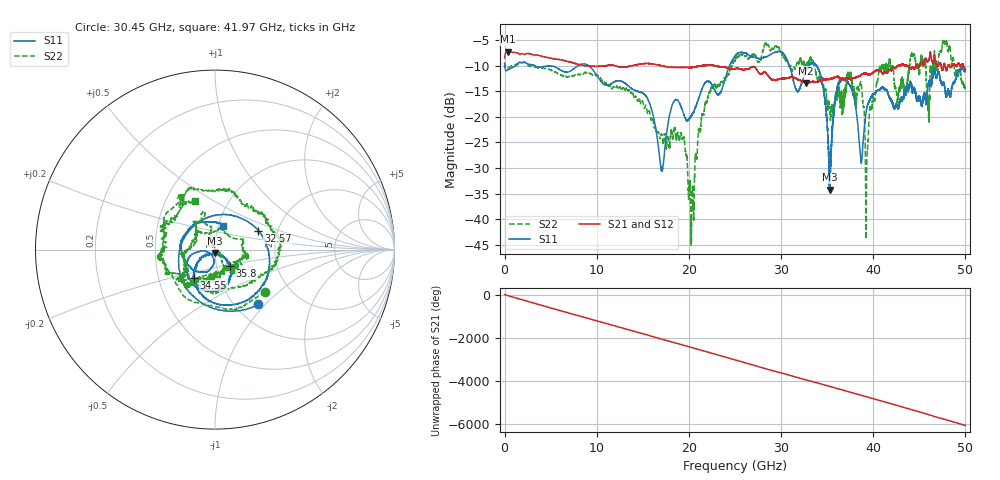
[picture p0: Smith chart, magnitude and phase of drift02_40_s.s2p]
!Created with skrf (http://scikit-rf.org).
# Hz S RI R 50.0
!freq ReS11 ImS11 ReS21 ImS21 ReS12 ImS12 ReS22 ImS22
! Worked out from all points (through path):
!   10001 points, 300 kHz to 50 GHz, reference 50 ohm
!   highest |S21| = -7.31 dB at 325.3 MHz (marker M1); lowest = -13.4 dB at 32.71 GHz (marker M2)
!   group delay of S21, straight-line fit = 335 ps
!   lowest |S11| = -34.2 dB at 35.31 GHz (marker M3), VSWR 1.04, Z = 50 - j1.94 ohm
!   |S11| at or under -10 dB: 3.231 GHz to 8.003 GHz (4.772 GHz wide, 85 % of centre); 9.104 GHz to 24.41 GHz (15.31 GHz wide, 91.4 % of centre); 33.83 GHz to end of sweep (the widest 3 of 9)
!   |S22| runs from -45.3 to -5.1 dB; largest |S21 - S12| = 0.018
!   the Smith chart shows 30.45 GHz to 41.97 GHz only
!   S11 on the Smith chart (normalised r, x): 30.45 GHz: 1.27, -0.91; 32.57 GHz: 1.59, +0.36; 34.55 GHz: 0.75, -0.25; 35.8 GHz: 1.16, -0.22; 41.97 GHz: 1.05, +0.28
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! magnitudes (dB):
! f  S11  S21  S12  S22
! 300 kHz  -9.5  -8.5  -8.4  -9.5
! 325.3 MHz  -10.9  -7.3  -7.3  -10.6
! 8.335 GHz  -9.7  -9.9  -9.9  -11.6
! 16.67 GHz  -25.7  -9.9  -9.9  -23.0
! 19.31 GHz  -18.9  -10.4  -10.3  -24.4
! 20.35 GHz  -19.5  -10.3  -10.3  -34.6
! 21.94 GHz  -13.1  -9.9  -9.9  -17.1
! 25 GHz  -8.2  -10.6  -10.6  -9.0
! 30.45 GHz  -8.2  -12.5  -12.5  -8.8
! 32.57 GHz  -11.6  -13.2  -13.3  -10.3
! 32.71 GHz  -11.0  -13.4  -13.4  -10.1
! 33.34 GHz  -9.4  -13.1  -13.2  -9.0
! 34.55 GHz  -14.2  -12.7  -12.7  -12.7
! 35.31 GHz  -34.2  -12.6  -12.5  -19.2
! 35.8 GHz  -18.1  -12.4  -12.4  -17.2
! 37.26 GHz  -13.4  -12.7  -12.7  -11.7
! 38.54 GHz  -25.9  -12.0  -12.0  -14.0
! 39.31 GHz  -18.2  -11.6  -11.6  -28.4
! 41.67 GHz  -15.8  -11.0  -11.1  -9.7
! 41.97 GHz  -17.1  -10.9  -10.8  -10.7
! 47.77 GHz  -14.3  -9.8  -9.8  -5.6
! 50 GHz  -11.1  -10.8  -10.8  -14.2
